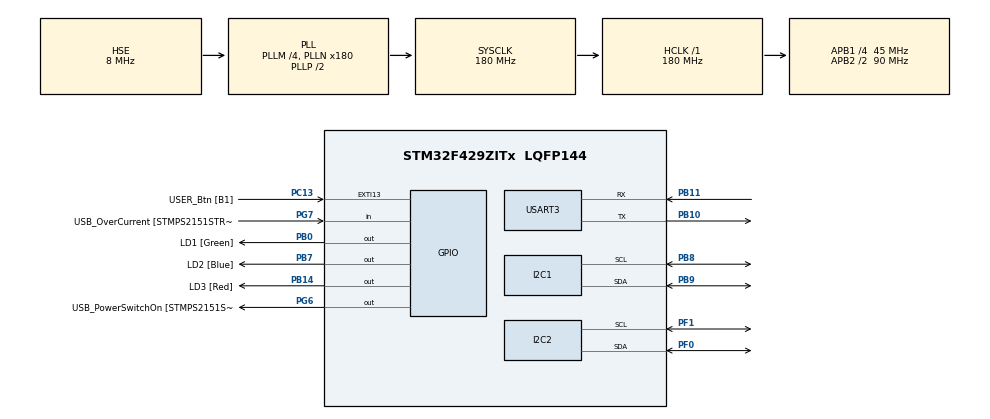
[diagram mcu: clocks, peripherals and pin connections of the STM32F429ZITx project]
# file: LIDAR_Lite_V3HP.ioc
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Mcu.Family=STM32F4
Mcu.Name=STM32F429ZITx
Mcu.Package=LQFP144
NVIC.I2C1_ER_IRQn=true\:0\:0\:false\:false\:true\:true\:true\:true
NVIC.I2C1_EV_IRQn=true\:0\:0\:false\:false\:true\:true\:true\:true
NVIC.I2C2_ER_IRQn=true\:0\:0\:false\:false\:true\:true\:true\:true
NVIC.I2C2_EV_IRQn=true\:0\:0\:false\:false\:true\:true\:true\:true
NVIC.PriorityGroup=NVIC_PRIORITYGROUP_4
NVIC.USART3_IRQn=true\:0\:0\:false\:false\:true\:true\:true\:true
PA1.GPIO_Label=RMII_REF_CLK [LAN8742A-CZ-TR_REFCLK0]
PA1.Signal=ETH_REF_CLK
PA10.GPIO_Label=USB_ID
PA10.Signal=USB_OTG_FS_ID
PA11.GPIO_Label=USB_DM
PA11.Signal=USB_OTG_FS_DM
PA12.GPIO_Label=USB_DP
PA12.Signal=USB_OTG_FS_DP
PA13.GPIO_Label=TMS
PA13.Mode=Serial_Wire
PA13.Signal=SYS_JTMS-SWDIO
PA14.GPIO_Label=TCK
PA14.Mode=Serial_Wire
PA14.Signal=SYS_JTCK-SWCLK
PA2.GPIO_Label=RMII_MDIO [LAN8742A-CZ-TR_MDIO]
PA2.Signal=ETH_MDIO
PA7.GPIO_Label=RMII_CRS_DV [LAN8742A-CZ-TR_CRS_DV]
PA7.Signal=ETH_CRS_DV
PA8.GPIO_Label=USB_SOF [TP1]
PA8.Signal=USB_OTG_FS_SOF
PA9.GPIO_Label=USB_VBUS
PA9.Signal=USB_OTG_FS_VBUS
PB0.GPIO_Label=LD1 [Green]
PB0.Signal=GPIO_Output
PB10.Mode=Asynchronous
PB10.Signal=USART3_TX
PB11.Mode=Asynchronous
PB11.Signal=USART3_RX
PB13.GPIO_Label=RMII_TXD1 [LAN8742A-CZ-TR_TXD1]
PB13.Signal=ETH_TXD1
PB14.GPIO_Label=LD3 [Red]
PB14.Signal=GPIO_Output
PB7.GPIO_Label=LD2 [Blue]
PB7.Signal=GPIO_Output
PB8.Mode=I2C
PB8.Signal=I2C1_SCL
PB9.Mode=I2C
PB9.Signal=I2C1_SDA
PC1.GPIO_Label=RMII_MDC [LAN8742A-CZ-TR_MDC]
PC1.Signal=ETH_MDC
PC13.GPIO_Label=USER_Btn [B1]
PC13.Signal=GPXTI13
PC14/OSC32_IN.Mode=LSE-External-Oscillator
PC14/OSC32_IN.Signal=RCC_OSC32_IN
PC15/OSC32_OUT.Mode=LSE-External-Oscillator
PC15/OSC32_OUT.Signal=RCC_OSC32_OUT
PC4.GPIO_Label=RMII_RXD0 [LAN8742A-CZ-TR_RXD0]
PC4.Signal=ETH_RXD0
PC5.GPIO_Label=RMII_RXD1 [LAN8742A-CZ-TR_RXD1]
PC5.Signal=ETH_RXD1
PF0.Mode=I2C
PF0.Signal=I2C2_SDA
PF1.Mode=I2C
PF1.Signal=I2C2_SCL
PG11.GPIO_Label=RMII_TX_EN [LAN8742A-CZ-TR_TXEN]
PG11.Signal=ETH_TX_EN
PG13.GPIO_Label=RMII_TXD0 [LAN8742A-CZ-TR_TXD0]
PG13.Signal=ETH_TXD0
PG6.GPIO_Label=USB_PowerSwitchOn [STMPS2151STR_EN]
PG6.Signal=GPIO_Output
PG7.GPIO_Label=USB_OverCurrent [STMPS2151STR_FAULT]
PG7.Signal=GPIO_Input
PH0/OSC_IN.GPIO_Label=MCO [STM32F103CBT6_PA8]
PH0/OSC_IN.Mode=HSE-External-Clock-Source
PH0/OSC_IN.Signal=RCC_OSC_IN
PH1/OSC_OUT.Mode=HSE-External-Clock-Source
PH1/OSC_OUT.Signal=RCC_OSC_OUT
ProjectManager.HeapSize=0x200
ProjectManager.StackSize=0x400
ProjectManager.TargetToolchain=STM32CubeIDE
RCC.48MHZClocksFreq_Value=90000000
RCC.AHBFreq_Value=180000000
RCC.APB1CLKDivider=RCC_HCLK_DIV4
RCC.APB1Freq_Value=45000000
RCC.APB1TimFreq_Value=90000000
RCC.APB2CLKDivider=RCC_HCLK_DIV2
RCC.APB2Freq_Value=90000000
RCC.APB2TimFreq_Value=180000000
RCC.CortexFreq_Value=180000000
RCC.HCLKFreq_Value=180000000
RCC.HSE_VALUE=8000000
RCC.HSI_VALUE=16000000
RCC.PLLM=4
RCC.PLLMUL=RCC_PLL_MUL9
RCC.PLLN=180
RCC.PLLSourceVirtual=RCC_PLLSOURCE_HSE
RCC.PRESCALERUSB=RCC_USBCLKSOURCE_PLL_DIV1_5
RCC.SYSCLKFreq_VALUE=180000000
RCC.SYSCLKSource=RCC_SYSCLKSOURCE_PLLCLK
RCC.SYSCLKSourceVirtual=RCC_SYSCLKSOURCE_PLLCLK
RCC.USBFreq_Value=48000000
RCC.VCOOutputFreq_Value=360000000
USART3.VirtualMode=VM_ASYNC
board=NUCLEO-F429ZI

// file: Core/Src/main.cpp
/* USER CODE BEGIN Header */
/**
  ******************************************************************************
  * @file           : main.c
  * @brief          : Main program body
  ******************************************************************************
  * @attention
  *
  * Copyright (c) 2022 STMicroelectronics.
  * All rights reserved.
  *
  * This software is licensed under terms that can be found in the LICENSE file
  * in the root directory of this software component.
  * If no LICENSE file comes with this software, it is provided AS-IS.
  *
  ******************************************************************************
  */
/* USER CODE END Header */
#include "main.h"
#include "i2c.h"
#include "usart.h"
#include "gpio.h"

/* USER CODE BEGIN Includes */
#include "stdio.h"
#include "stdbool.h"
#include "LIDARLite_v3HP.h"
/* USER CODE END Includes */

/* USER CODE BEGIN PV */
LIDARLite_v3HP myLidarLite;
int cal_cnt = 0;
rangeType_T RANGETYPE;
/* USER CODE END PV */

void SystemClock_Config(void);
/* USER CODE BEGIN PFP */
int _write(int file, char *p, int len)
{
	if(HAL_UART_Transmit(&huart3, (uint8_t *)p, len, 10) == HAL_OK) return len;
	else return 0;
}
uint8_t distanceContinuous(uint16_t * distance);
/* USER CODE END PFP */

int main(void)
{

  /* MCU Configuration--------------------------------------------------------*/

  /* Reset of all peripherals, Initializes the Flash interface and the Systick. */
  HAL_Init();

  /* Configure the system clock */
  SystemClock_Config();

  /* Initialize all configured peripherals */
  MX_GPIO_Init();
  MX_I2C1_Init();
  MX_USART3_UART_Init();
  MX_I2C2_Init();
  /* USER CODE BEGIN 2 */
  myLidarLite.configure(0);
  myLidarLite.DWT_Delay_Init();
  /* USER CODE END 2 */

  /* Infinite loop */
  /* USER CODE BEGIN WHILE */
  uint16_t distance;
  uint8_t  newDistance = 0;
  printf("Start LIDAR\r\n");
  //uint8_t  c;
  //rangeType_T rangeMode = RANGE_CONTINUOUS;
  while (1)
  {
	  newDistance = distanceContinuous(&distance);

      if (newDistance)
      {
          printf("Distance : %5d cm\r\n", distance);
          HAL_GPIO_TogglePin(GPIOB, GPIO_PIN_14);
      }

	  HAL_Delay(10);

    /* USER CODE END WHILE */

  }
}

void SystemClock_Config(void)
{
  RCC_OscInitTypeDef RCC_OscInitStruct = {0};
  RCC_ClkInitTypeDef RCC_ClkInitStruct = {0};

  /** Configure the main internal regulator output voltage
  */
  __HAL_RCC_PWR_CLK_ENABLE();
  __HAL_PWR_VOLTAGESCALING_CONFIG(PWR_REGULATOR_VOLTAGE_SCALE1);

  /** Initializes the RCC Oscillators according to the specified parameters
  * in the RCC_OscInitTypeDef structure.
  */
  RCC_OscInitStruct.OscillatorType = RCC_OSCILLATORTYPE_HSE;
  RCC_OscInitStruct.HSEState = RCC_HSE_BYPASS;
  RCC_OscInitStruct.PLL.PLLState = RCC_PLL_ON;
  RCC_OscInitStruct.PLL.PLLSource = RCC_PLLSOURCE_HSE;
  RCC_OscInitStruct.PLL.PLLM = 4;
  RCC_OscInitStruct.PLL.PLLN = 180;
  RCC_OscInitStruct.PLL.PLLP = RCC_PLLP_DIV2;
  RCC_OscInitStruct.PLL.PLLQ = 4;
  if (HAL_RCC_OscConfig(&RCC_OscInitStruct) != HAL_OK)
  {
    Error_Handler();
  }

  /** Activate the Over-Drive mode
  */
  if (HAL_PWREx_EnableOverDrive() != HAL_OK)
  {
    Error_Handler();
  }

  /** Initializes the CPU, AHB and APB buses clocks
  */
  RCC_ClkInitStruct.ClockType = RCC_CLOCKTYPE_HCLK|RCC_CLOCKTYPE_SYSCLK
                              |RCC_CLOCKTYPE_PCLK1|RCC_CLOCKTYPE_PCLK2;
  RCC_ClkInitStruct.SYSCLKSource = RCC_SYSCLKSOURCE_PLLCLK;
  RCC_ClkInitStruct.AHBCLKDivider = RCC_SYSCLK_DIV1;
  RCC_ClkInitStruct.APB1CLKDivider = RCC_HCLK_DIV4;
  RCC_ClkInitStruct.APB2CLKDivider = RCC_HCLK_DIV2;

  if (HAL_RCC_ClockConfig(&RCC_ClkInitStruct, FLASH_LATENCY_5) != HAL_OK)
  {
    Error_Handler();
  }
}

/* USER CODE BEGIN 4 */
uint8_t distanceSingle(uint16_t * distance)
{
    // 1. Wait for busyFlag to indicate device is idle. This must be
    //    done before triggering a range measurement.
    myLidarLite.waitForBusy();

    // 2. Trigger range measurement.
    myLidarLite.takeRange();

    // 3. Wait for busyFlag to indicate device is idle. This should be
    //    done before reading the distance data that was triggered above.
    myLidarLite.waitForBusy();

    // 4. Read new distance data from device registers
    *distance = myLidarLite.readDistance();

    return 1;
}

//---------------------------------------------------------------------
// Read Continuous Distance Measurements
//
// The most recent distance measurement can always be read from
// device registers. Polling for the BUSY flag in the STATUS
// register can alert the user that the distance measurement is new
// and that the next measurement can be initiated. If the device is
// BUSY this function does nothing and returns 0. If the device is
// NOT BUSY this function triggers the next measurement, reads the
// distance data from the previous measurement, and returns 1.
//---------------------------------------------------------------------
uint8_t distanceContinuous(uint16_t * distance)
{
    uint8_t newDistance = 0;

    // Check on busyFlag to indicate if device is idle
    // (meaning = it finished the previously triggered measurement)
    if (myLidarLite.getBusyFlag() == 0)
    {
        // Trigger the next range measurement
        myLidarLite.takeRange();

        // Read new distance data from device registers
        *distance = myLidarLite.readDistance();

        // Report to calling function that we have new data
        newDistance = 1;
    }

    return newDistance;
}

//---------------------------------------------------------------------
// Read Distance Measurement, Quickly
//
// Read distance. The approach is to poll the status register until the device goes
// idle after finishing a measurement, send a new measurement command, then read the
// previous distance data while it is performing the new command.
//---------------------------------------------------------------------
uint8_t distanceFast(uint16_t * distance)
{
    // 1. Wait for busyFlag to indicate device is idle. This must be
    //    done before triggering a range measurement.
    myLidarLite.waitForBusy();

    // 2. Trigger range measurement.
    myLidarLite.takeRange();

    // 3. Read previous distance data from device registers.
    //    After starting a measurement we can immediately read previous
    //    distance measurement while the current range acquisition is
    //    ongoing. This distance data is valid until the next
    //    measurement finishes. The I2C transaction finishes before new
    //    distance measurement data is acquired.
    *distance = myLidarLite.readDistance();

    return 1;
}

//---------------------------------------------------------------------
// Print the correlation record for analysis
//---------------------------------------------------------------------
void dumpCorrelationRecord()
{
    myLidarLite.correlationRecordToSerial(256);
}

//---------------------------------------------------------------------
// Print peaks and calculated distances from the peak stack
//---------------------------------------------------------------------
void peakStackExample()
{
    int16_t   peakArray[8];
    int16_t   distArray[8];
    uint8_t   i;

    // - Read the Peak Stack.
    // - Peaks and calculated distances are returned in local arrays.
    // - See library function for details on the makeup of the stack
    //   and how distance data is created from the stack.
    myLidarLite.peakStackRead(peakArray, distArray);

    // Print peaks and calculated distances to the serial port.
    printf("IDX PEAK DIST\r\n");
    for (i=0 ; i<8 ; i++)
    {
        printf("%d  %d  %d\r\n", i,  peakArray[i],  distArray[i]);
    }
}

/* USER CODE END 4 */

void Error_Handler(void)
{
  __disable_irq();
  while (1)
  {
  }
}
